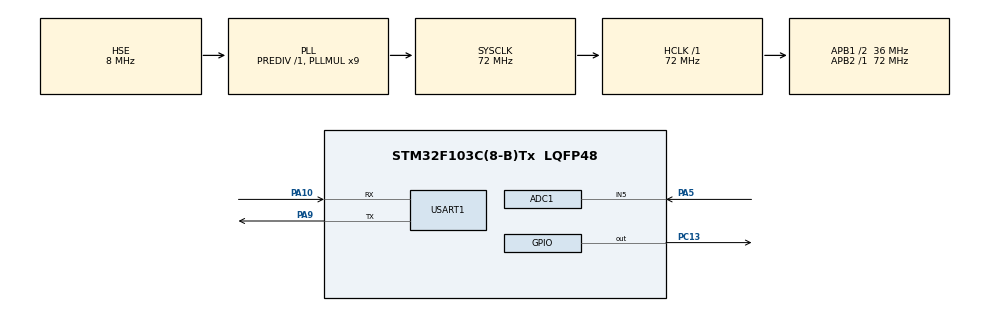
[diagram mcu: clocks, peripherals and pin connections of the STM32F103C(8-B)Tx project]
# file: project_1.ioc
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ADC1.Channel-9\#ChannelRegularConversion=ADC_CHANNEL_5
ADC1.ContinuousConvMode=ENABLE
ADC1.NbrOfConversionFlag=1
ADC1.Rank-9\#ChannelRegularConversion=1
ADC1.SamplingTime-9\#ChannelRegularConversion=ADC_SAMPLETIME_239CYCLES_5
ADC1.master=1
Dma.ADC1.0.Direction=DMA_PERIPH_TO_MEMORY
Dma.ADC1.0.Instance=DMA1_Channel1
Dma.ADC1.0.MemDataAlignment=DMA_MDATAALIGN_HALFWORD
Dma.ADC1.0.MemInc=DMA_MINC_ENABLE
Dma.ADC1.0.Mode=DMA_CIRCULAR
Dma.ADC1.0.PeriphDataAlignment=DMA_PDATAALIGN_HALFWORD
Dma.ADC1.0.PeriphInc=DMA_PINC_DISABLE
Dma.ADC1.0.Priority=DMA_PRIORITY_HIGH
Dma.Request0=ADC1
IWDG.Prescaler=IWDG_PRESCALER_4
Mcu.Family=STM32F1
Mcu.Name=STM32F103C(8-B)Tx
Mcu.Package=LQFP48
NVIC.DMA1_Channel1_IRQn=true\:1\:0\:true\:true\:true\:3\:true\:true
NVIC.PriorityGroup=NVIC_PRIORITYGROUP_2
NVIC.TIM4_IRQn=true\:1\:0\:true\:true\:true\:2\:true\:true
NVIC.USART1_IRQn=true\:1\:0\:true\:true\:true\:1\:true\:true
PA0-WKUP.Mode=SYS_WakeUp0
PA0-WKUP.Signal=SYS_WKUP
PA10.GPIO_Mode=GPIO_MODE_INPUT
PA10.GPIO_PuPd=GPIO_PULLUP
PA10.Mode=Asynchronous
PA10.Signal=USART1_RX
PA13.Mode=JTAG_4_pins
PA13.Signal=SYS_JTMS-SWDIO
PA14.Mode=JTAG_4_pins
PA14.Signal=SYS_JTCK-SWCLK
PA15.Mode=JTAG_4_pins
PA15.Signal=SYS_JTDI
PA5.GPIO_Mode=GPIO_MODE_ANALOG
PA5.Signal=ADCx_IN5
PA9.GPIO_Mode=GPIO_MODE_AF_PP
PA9.GPIO_Speed=GPIO_SPEED_FREQ_HIGH
PA9.Mode=Asynchronous
PA9.Signal=USART1_TX
PB3.Mode=JTAG_4_pins
PB3.Signal=SYS_JTDO-TRACESWO
PC13-TAMPER-RTC.GPIO_ModeDefaultOutputPP=GPIO_MODE_OUTPUT_PP
PC13-TAMPER-RTC.GPIO_PuPd=GPIO_PULLUP
PC13-TAMPER-RTC.GPIO_Speed=GPIO_SPEED_FREQ_HIGH
PC13-TAMPER-RTC.PinState=GPIO_PIN_SET
PC13-TAMPER-RTC.Signal=GPIO_Output
PD0-OSC_IN.Mode=HSE-External-Oscillator
PD0-OSC_IN.Signal=RCC_OSC_IN
PD1-OSC_OUT.Mode=HSE-External-Oscillator
PD1-OSC_OUT.Signal=RCC_OSC_OUT
ProjectManager.HeapSize=0x200
ProjectManager.StackSize=0x400
ProjectManager.TargetToolchain=Other Toolchains (GPDSC)
RCC.ADCPresc=RCC_ADCPCLK2_DIV6
RCC.AHBFreq_Value=72000000
RCC.APB1CLKDivider=RCC_HCLK_DIV2
RCC.APB1Freq_Value=36000000
RCC.APB1TimFreq_Value=72000000
RCC.APB2Freq_Value=72000000
RCC.APB2TimFreq_Value=72000000
RCC.HCLKFreq_Value=72000000
RCC.HSE_Timout=100
RCC.HSICalibrationValue=16
RCC.PLLMUL=RCC_PLL_MUL9
RCC.PLLSourceVirtual=RCC_PLLSOURCE_HSE
RCC.PREFETCH_ENABLE=1
RCC.SYSCLKFreq_VALUE=72000000
RCC.SYSCLKSource=RCC_SYSCLKSOURCE_PLLCLK
RCC.USBFreq_Value=72000000
SH.ADCx_IN5.0=ADC1_IN5,IN5
TIM4.AutoReloadPreload=TIM_AUTORELOAD_PRELOAD_DISABLE
TIM4.Period=3999
TIM4.Prescaler=7199
USART1.VirtualMode=VM_ASYNC
VP_IWDG_VS_IWDG.Mode=IWDG_Activate
VP_TIM4_VS_ClockSourceINT.Mode=Internal
board=custom

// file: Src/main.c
/* USER CODE BEGIN Header */
/**
  ******************************************************************************
  * @file           : main.c
  * @brief          : Main program body
  ******************************************************************************
  * @attention
  *
  * <h2><center>&copy; Copyright (c) 2019 STMicroelectronics.
  * All rights reserved.</center></h2>
  *
  * This software component is licensed by ST under BSD 3-Clause license,
  * the "License"; You may not use this file except in compliance with the
  * License. You may obtain a copy of the License at:
  *                        opensource.org/licenses/BSD-3-Clause
  *
  ******************************************************************************
  */
/* USER CODE END Header */

#include "main.h"
#include "adc.h"
#include "dma.h"
#include "iwdg.h"
#include "tim.h"
#include "usart.h"
#include "gpio.h"

/* USER CODE BEGIN Includes */
#include "nanopb_usercode.h"
#include "sys.h"

/* USER CODE END Includes */

void SystemClock_Config(void);
static void MX_NVIC_Init(void);

int main(void)
{

  /* MCU Configuration--------------------------------------------------------*/

  /* Reset of all peripherals, Initializes the Flash interface and the Systick. */
  HAL_Init();

  /* USER CODE BEGIN Init */
  kalman1_init(&kalman1, 4095, 0);

  /* USER CODE END Init */

  /* Configure the system clock */
  SystemClock_Config();

  /* Initialize all configured peripherals */
  MX_GPIO_Init();
  MX_DMA_Init();
  MX_IWDG_Init();
  MX_ADC1_Init();
  MX_USART1_UART_Init();
  MX_TIM4_Init();

  /* Initialize interrupts */
  MX_NVIC_Init();
  /* USER CODE BEGIN 2 */
  HAL_TIM_Base_Start_IT(&htim4); //使能定时器2和定时器2更新中断：TIM_IT_UPDATE
  HAL_UART_Receive_IT(&huart1, (u8 *)aRxBuffer, RXBUFFERSIZE);//该函数会开启接收中断：标志位UART_IT_RXNE，并且设置接收缓冲以及接收缓冲接收最大数据量

  /* USER CODE END 2 */

  /* Infinite loop */
  /* USER CODE BEGIN WHILE */
  while (1)
  {
	  if (USART_RX_STA & 0x8000)		//串口数据接收完成
	  {
		  if (msg_got.payload.control.node.nodeId == Node_ID
			&& msg_got.payload.control.node.address == Node_Address)
		  {
			  switch (msg_got.payload.control.node.channel)
			  {
			  case Node_Channle_1:
				  /****************************************/
				  msg_sent.sid = msg_got.sid;
				  if (PB_ENCODE_Rsp_CALL(Cmd_Call(), Node_Channle_1))
				  {
					  printf("Node command response encode error!\r\n");
				  }
				  /****************************************/
				  break;

			  default:
				  break;
			  }
		  }

		  USART_RX_STA = 0;		//接收完成标志位清零
	  }
	  HAL_IWDG_Refresh(&hiwdg);		//喂狗
    /* USER CODE END WHILE */

  }
}

void SystemClock_Config(void)
{
  RCC_OscInitTypeDef RCC_OscInitStruct = {0};
  RCC_ClkInitTypeDef RCC_ClkInitStruct = {0};
  RCC_PeriphCLKInitTypeDef PeriphClkInit = {0};

  /** Initializes the CPU, AHB and APB busses clocks
  */
  RCC_OscInitStruct.OscillatorType = RCC_OSCILLATORTYPE_LSI|RCC_OSCILLATORTYPE_HSE;
  RCC_OscInitStruct.HSEState = RCC_HSE_ON;
  RCC_OscInitStruct.HSEPredivValue = RCC_HSE_PREDIV_DIV1;
  RCC_OscInitStruct.HSIState = RCC_HSI_ON;
  RCC_OscInitStruct.LSIState = RCC_LSI_ON;
  RCC_OscInitStruct.PLL.PLLState = RCC_PLL_ON;
  RCC_OscInitStruct.PLL.PLLSource = RCC_PLLSOURCE_HSE;
  RCC_OscInitStruct.PLL.PLLMUL = RCC_PLL_MUL9;
  if (HAL_RCC_OscConfig(&RCC_OscInitStruct) != HAL_OK)
  {
    Error_Handler();
  }
  /** Initializes the CPU, AHB and APB busses clocks
  */
  RCC_ClkInitStruct.ClockType = RCC_CLOCKTYPE_HCLK|RCC_CLOCKTYPE_SYSCLK
                              |RCC_CLOCKTYPE_PCLK1|RCC_CLOCKTYPE_PCLK2;
  RCC_ClkInitStruct.SYSCLKSource = RCC_SYSCLKSOURCE_PLLCLK;
  RCC_ClkInitStruct.AHBCLKDivider = RCC_SYSCLK_DIV1;
  RCC_ClkInitStruct.APB1CLKDivider = RCC_HCLK_DIV2;
  RCC_ClkInitStruct.APB2CLKDivider = RCC_HCLK_DIV1;

  if (HAL_RCC_ClockConfig(&RCC_ClkInitStruct, FLASH_LATENCY_2) != HAL_OK)
  {
    Error_Handler();
  }
  PeriphClkInit.PeriphClockSelection = RCC_PERIPHCLK_ADC;
  PeriphClkInit.AdcClockSelection = RCC_ADCPCLK2_DIV6;
  if (HAL_RCCEx_PeriphCLKConfig(&PeriphClkInit) != HAL_OK)
  {
    Error_Handler();
  }
}

/**
  * @brief NVIC Configuration.
  * @retval None
  */
static void MX_NVIC_Init(void)
{
  /* USART1_IRQn interrupt configuration */
  HAL_NVIC_SetPriority(USART1_IRQn, 1, 0);
  HAL_NVIC_EnableIRQ(USART1_IRQn);
  /* TIM4_IRQn interrupt configuration */
  HAL_NVIC_SetPriority(TIM4_IRQn, 1, 0);
  HAL_NVIC_EnableIRQ(TIM4_IRQn);
  /* DMA1_Channel1_IRQn interrupt configuration */
  HAL_NVIC_SetPriority(DMA1_Channel1_IRQn, 1, 0);
  HAL_NVIC_EnableIRQ(DMA1_Channel1_IRQn);
}

void Error_Handler(void)
{
}

/************************ (C) COPYRIGHT STMicroelectronics *****END OF FILE****/
